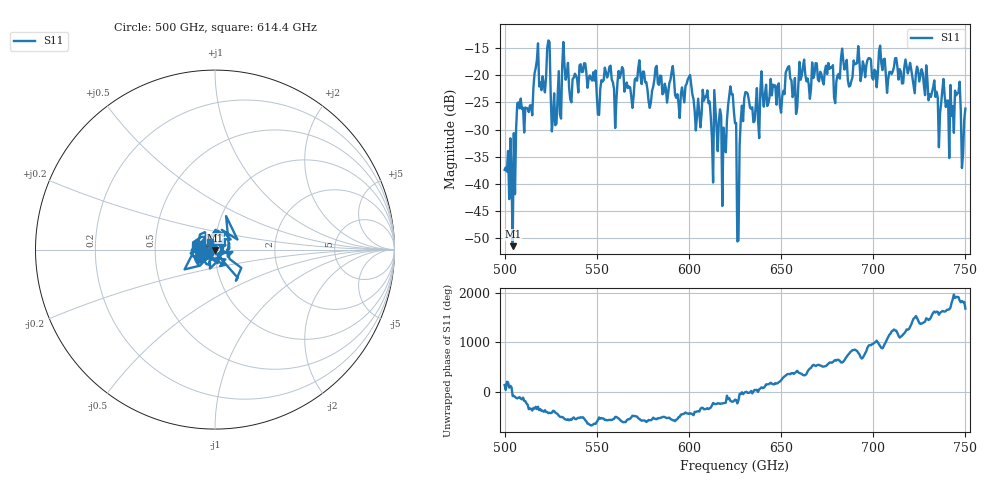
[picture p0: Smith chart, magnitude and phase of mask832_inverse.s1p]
!Created with skrf (http://scikit-rf.org).
# GHz S MA R 50.0
!freq magS11 angS11
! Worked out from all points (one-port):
!   401 points, 500 GHz to 750 GHz, reference 50 ohm
!   lowest |S11| = -51.5 dB at 504.4 GHz (marker M1), VSWR 1.01, Z = 50.1 - j0.258 ohm
!   |S11| at or under -10 dB: start of sweep to end of sweep
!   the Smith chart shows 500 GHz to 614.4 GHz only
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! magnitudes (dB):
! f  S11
! 500 GHz  -37.4
! 504.4 GHz  -51.5
! 507.5 GHz  -25.0
! 513.8 GHz  -25.6
! 516.9 GHz  -18.7
! 520.6 GHz  -20.2
! 523.8 GHz  -13.6
! 526.9 GHz  -23.3
! 531.2 GHz  -18.2
! 542.5 GHz  -19.4
! 551.2 GHz  -27.3
! 562.5 GHz  -20.5
! 578.8 GHz  -26.0
! 590.6 GHz  -19.3
! 593.8 GHz  -23.5
! 608.8 GHz  -24.0
! 619.4 GHz  -32.8
! 622.5 GHz  -22.1
! 625 GHz  -28.9
! 626.9 GHz  -50.4
! 628.8 GHz  -25.6
! 631.2 GHz  -23.1
! 656.2 GHz  -24.0
! 680 GHz  -21.1
! 683.8 GHz  -17.3
! 687.5 GHz  -21.9
! 718.8 GHz  -19.7
! 750 GHz  -26.1
